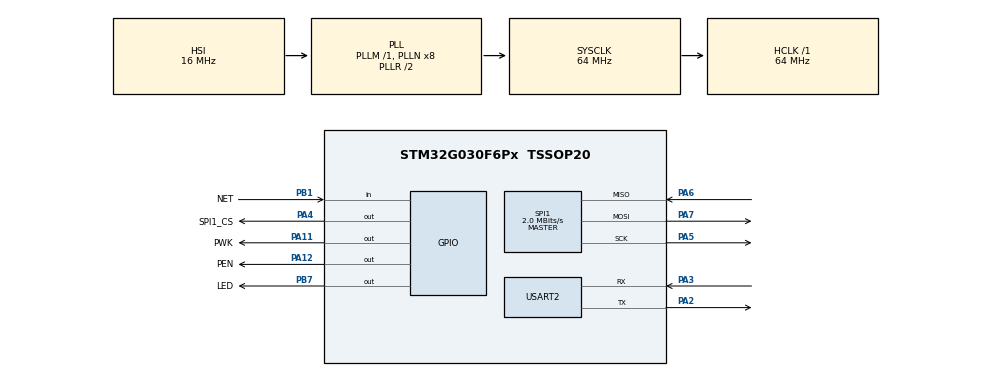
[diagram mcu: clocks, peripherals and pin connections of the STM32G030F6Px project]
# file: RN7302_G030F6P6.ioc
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Mcu.Family=STM32G0
Mcu.Name=STM32G030F6Px
Mcu.Package=TSSOP20
NVIC.USART2_IRQn=true\:0\:0\:false\:false\:true\:true\:true
PA11\ [PA9].GPIO_Label=PWK
PA11\ [PA9].Signal=GPIO_Output
PA12\ [PA10].GPIO_Label=PEN
PA12\ [PA10].Signal=GPIO_Output
PA13.Mode=Serial_Wire
PA13.Signal=SYS_SWDIO
PA14-BOOT0.Mode=Serial_Wire
PA14-BOOT0.Signal=SYS_SWCLK
PA2.Mode=Asynchronous
PA2.Signal=USART2_TX
PA3.Mode=Asynchronous
PA3.Signal=USART2_RX
PA4.GPIO_Label=SPI1_CS
PA4.GPIO_PuPd=GPIO_NOPULL
PA4.PinState=GPIO_PIN_SET
PA4.Signal=GPIO_Output
PA5.Mode=Full_Duplex_Master
PA5.Signal=SPI1_SCK
PA6.Mode=Full_Duplex_Master
PA6.Signal=SPI1_MISO
PA7.Mode=Full_Duplex_Master
PA7.Signal=SPI1_MOSI
PB1.GPIO_Label=NET
PB1.Signal=GPIO_Input
PB7.GPIO_Label=LED
PB7.PinState=GPIO_PIN_SET
PB7.Signal=GPIO_Output
ProjectManager.HeapSize=0x200
ProjectManager.StackSize=0x400
ProjectManager.TargetToolchain=MDK-ARM V5.27
RCC.ADCFreq_Value=64000000
RCC.AHBFreq_Value=64000000
RCC.CortexFreq_Value=64000000
RCC.EXTERNAL_CLOCK_VALUE=12288000
RCC.HCLKFreq_Value=64000000
RCC.HSE_VALUE=8000000
RCC.HSI_VALUE=16000000
RCC.LSE_VALUE=32768
RCC.SYSCLKFreq_VALUE=64000000
RCC.SYSCLKSource=RCC_SYSCLKSOURCE_PLLCLK
RCC.VCOOutputFreq_Value=128000000
SPI1.BaudRatePrescaler=SPI_BAUDRATEPRESCALER_32
SPI1.CLKPhase=SPI_PHASE_2EDGE
SPI1.CalculateBaudRate=2.0 MBits/s
SPI1.Direction=SPI_DIRECTION_2LINES
SPI1.Mode=SPI_MODE_MASTER
SPI1.VirtualType=VM_MASTER
USART2.VirtualMode-Asynchronous=VM_ASYNC
USART2.VirtualMode-Hardware\ Flow\ Control\ (RS485)=VM_ASYNC
board=custom

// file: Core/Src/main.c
/* USER CODE BEGIN Header */
/**
  ******************************************************************************
  * @file           : main.c
  * @brief          : Main program body
  ******************************************************************************
  * @attention
  *
  * <h2><center>&copy; Copyright (c) 2022 STMicroelectronics.
  * All rights reserved.</center></h2>
  *
  * This software component is licensed by ST under BSD 3-Clause license,
  * the "License"; You may not use this file except in compliance with the
  * License. You may obtain a copy of the License at:
  *                        opensource.org/licenses/BSD-3-Clause
  *
  ******************************************************************************
  */
/* USER CODE END Header */

#include "main.h"
#include "spi.h"
#include "usart.h"
#include "gpio.h"

/* USER CODE BEGIN Includes */
#include "RN7302.h"
#include "EC600N.h"
/* USER CODE END Includes */

/* USER CODE BEGIN PV */
extern uint8_t aRxBuffer;
uint8_t mqtt_sub_topic[] = "AT+QMTSUB=0,1,\"/h2sjd0zpIxZ/RN7302/user/data\",0\r\n";
uint8_t mqtt_pub_topic[] = "AT+QMTSUB=0,1,\"/h2sjd0zpIxZ/RN7302/user/cmd\",0\r\n";
/* USER CODE END PV */

void SystemClock_Config(void);

/* USER CODE BEGIN 0 */
void delay_us(uint32_t udelay)
{
  __IO uint32_t Delay = udelay * 64 / 8;//(SystemCoreClock / 8U / 1000000U)
    //见stm32f1xx_hal_rcc.c -- static void RCC_Delay(uint32_t mdelay)
  do
  {
    __NOP();
  }
  while (Delay --);
}

/* USER CODE END 0 */

int main(void)
{

  /* MCU Configuration--------------------------------------------------------*/

  /* Reset of all peripherals, Initializes the Flash interface and the Systick. */
  HAL_Init();

  /* Configure the system clock */
  SystemClock_Config();

  /* Initialize all configured peripherals */
  MX_GPIO_Init();
  MX_SPI1_Init();
  MX_USART2_UART_Init();
  /* USER CODE BEGIN 2 */
	HAL_UART_Receive_IT(&huart2, &aRxBuffer, 1);
	HAL_GPIO_WritePin(LED_GPIO_Port, LED_Pin, GPIO_PIN_SET);

//	//重启EC600N
//	Usart2_SendString("AT+QPOWD\r\n");
//	HAL_Delay(1000);
	//EC600N开机
	PWK_Start();
	HAL_Delay(10000);
	//关闭命令回显
	Usart_SendString("ATE0\r\n");
	HAL_Delay(1000);
	Connect_AliYun();
	HAL_Delay(1000);
	//订阅主题
  Usart_SendString(mqtt_sub_topic);
	HAL_Delay(1000);
	Usart_SendString(mqtt_pub_topic);
	//EC600N关机
//	PWK_ShutDown();

	EnableRN7302();
	AdjustRegister();
	HAL_Delay(1000);

  /* USER CODE END 2 */

  /* Infinite loop */
  while (1)
  {

    /* USER CODE BEGIN 3 */

		readRegister();
  }
  /* USER CODE END 3 */
}

void SystemClock_Config(void)
{
  RCC_OscInitTypeDef RCC_OscInitStruct = {0};
  RCC_ClkInitTypeDef RCC_ClkInitStruct = {0};

  /** Configure the main internal regulator output voltage
  */
  HAL_PWREx_ControlVoltageScaling(PWR_REGULATOR_VOLTAGE_SCALE1);
  /** Initializes the CPU, AHB and APB busses clocks
  */
  RCC_OscInitStruct.OscillatorType = RCC_OSCILLATORTYPE_HSI;
  RCC_OscInitStruct.HSIState = RCC_HSI_ON;
  RCC_OscInitStruct.HSIDiv = RCC_HSI_DIV1;
  RCC_OscInitStruct.HSICalibrationValue = RCC_HSICALIBRATION_DEFAULT;
  RCC_OscInitStruct.PLL.PLLState = RCC_PLL_ON;
  RCC_OscInitStruct.PLL.PLLSource = RCC_PLLSOURCE_HSI;
  RCC_OscInitStruct.PLL.PLLM = RCC_PLLM_DIV1;
  RCC_OscInitStruct.PLL.PLLN = 8;
  RCC_OscInitStruct.PLL.PLLP = RCC_PLLP_DIV2;
  RCC_OscInitStruct.PLL.PLLR = RCC_PLLR_DIV2;
  if (HAL_RCC_OscConfig(&RCC_OscInitStruct) != HAL_OK)
  {
    Error_Handler();
  }
  /** Initializes the CPU, AHB and APB busses clocks
  */
  RCC_ClkInitStruct.ClockType = RCC_CLOCKTYPE_HCLK|RCC_CLOCKTYPE_SYSCLK
                              |RCC_CLOCKTYPE_PCLK1;
  RCC_ClkInitStruct.SYSCLKSource = RCC_SYSCLKSOURCE_PLLCLK;
  RCC_ClkInitStruct.AHBCLKDivider = RCC_SYSCLK_DIV1;
  RCC_ClkInitStruct.APB1CLKDivider = RCC_HCLK_DIV1;

  if (HAL_RCC_ClockConfig(&RCC_ClkInitStruct, FLASH_LATENCY_2) != HAL_OK)
  {
    Error_Handler();
  }
}

void Error_Handler(void)
{
}

/************************ (C) COPYRIGHT STMicroelectronics *****END OF FILE****/
